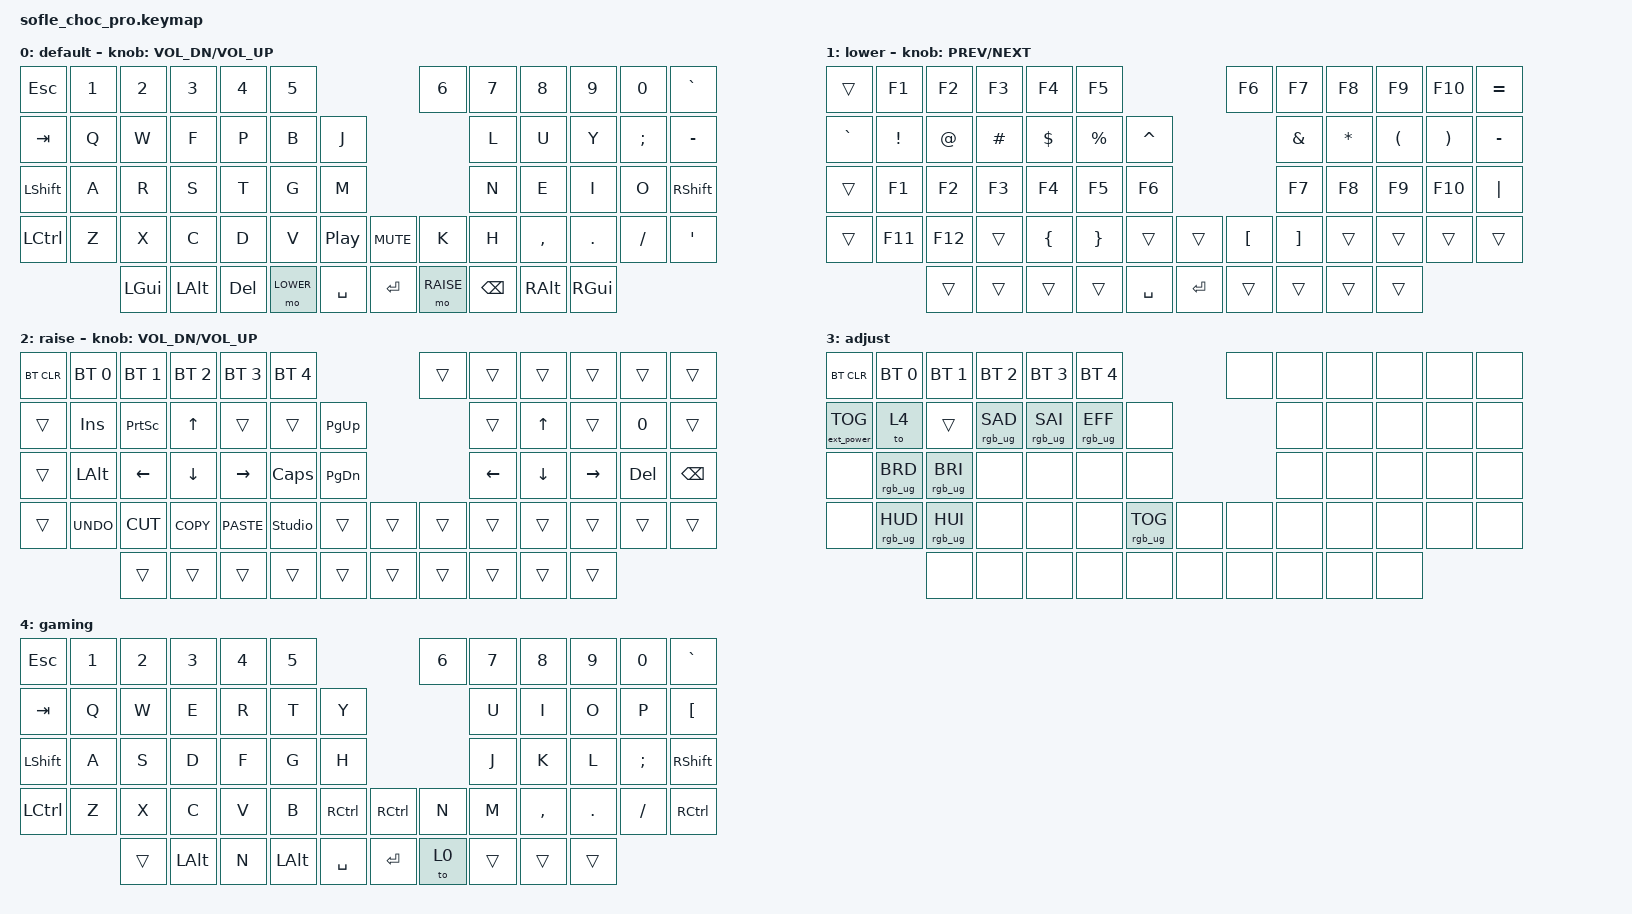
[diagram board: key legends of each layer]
/*
* Copyright (c) 2020 The ZMK Contributors
*
* SPDX-License-Identifier: MIT
*/

#include <behaviors.dtsi>
#include <dt-bindings/zmk/bt.h>
#include <dt-bindings/zmk/ext_power.h>
#include <dt-bindings/zmk/keys.h>
#include <dt-bindings/zmk/rgb.h>

#define BASE 0
#define LOWER 1
#define RAISE 2
#define ADJUST 3

/ {
    // Activate ADJUST layer by pressing raise and lower

    conditional_layers {
        compatible = "zmk,conditional-layers";

        adjust_layer {
            if-layers = <LOWER RAISE>;
            then-layer = <ADJUST>;
        };
    };

    keymap {
        compatible = "zmk,keymap";

        default_layer {
            display-name = "default";

            // ------------------------------------------------------------------------------------------------------------
            // |   `   |  1  |  2  |  3   |  4   |  5   |                   |  6   |  7    |  8    |  9   |   0   |   `   |
            // |  ESC  |  Q  |  W  |  E   |  R   |  T   |                   |  Y   |  U    |  I    |  O   |   P   | BKSPC |
            // |  TAB  |  A  |  S  |  D   |  F   |  G   |                   |  H   |  J    |  K    |  L   |   ;   |   '   |
            // | SHIFT |  Z  |  X  |  C   |  V   |  B   |  MUTE  |  | PLAY  |  N   |  M    |  ,    |  .   |   /   | SHIFT |
            //               | GUI | ALT  | CTRL | LOWER|  ENTER |  | SPACE | RAISE| CTRL  | ALT   | GUI  |

            bindings = <
&kp ESCAPE      &kp N1  &kp N2    &kp N3    &kp N4      &kp N5                                   &kp N6     &kp N7         &kp N8     &kp N9    &kp N0         &kp GRAVE
&kp TAB         &kp Q   &kp W     &kp F     &kp P       &kp B      &kp J                                    &kp L          &kp U      &kp Y     &kp SEMICOLON  &kp MINUS
&kp LEFT_SHIFT  &kp A   &kp R     &kp S     &kp T       &kp G      &kp M                                    &kp N          &kp E      &kp I     &kp O          &kp RIGHT_SHIFT
&kp LCTRL       &kp Z   &kp X     &kp C     &kp D       &kp V      &kp C_PLAY_PAUSE  &kp K_MUTE  &kp K      &kp H          &kp COMMA  &kp DOT   &kp SLASH      &kp SQT
                        &kp LGUI  &kp LALT  &kp DELETE  &mo LOWER  &kp SPACE         &kp RETURN  &mo RAISE  &kp BACKSPACE  &kp RALT   &kp RGUI
            >;

            sensor-bindings = <&inc_dec_kp C_VOL_DN C_VOL_UP>;
        };

        lower_layer {
            display-name = "lower";

            // ------------------------------------------------------------------------------------------------------------
            // |       |  F1 |  F2 |  F3  |  F4  |  F5  |                   |  F6  |  F7   |  F8   |  F9  |  F10  |  F11  |
            // |   `   |  1  |  2  |  3   |  4   |  5   |                   |  6   |  7    |  8    |  9   |   0   |  F12  |
            // |       |  !  |  @  |  #   |  $   |  %   |                   |  ^   |  &    |  *    |  (   |   )   |   |   |
            // |       |  =  |  -  |  +   |  {   |  }   |        |  |       |  [   |  ]    |  ;    |  :   |   \   |       |
            //               |     |      |      |      |        |  |       |      |       |       |      |

            bindings = <
&trans     &kp F1    &kp F2   &kp F3    &kp F4      &kp F5                              &kp F6    &kp F7         &kp F8     &kp F9                &kp F10                &kp EQUAL
&kp GRAVE  &kp EXCL  &kp AT   &kp HASH  &kp DOLLAR  &kp PERCENT  &kp CARET                        &kp AMPERSAND  &kp ASTRK  &kp LEFT_PARENTHESIS  &kp RIGHT_PARENTHESIS  &kp MINUS
&trans     &kp F1    &kp F2   &kp F3    &kp F4      &kp F5       &kp F6                           &kp F7         &kp F8     &kp F9                &kp F10                &kp PIPE
&trans     &kp F11   &kp F12  &trans    &kp LBRC    &kp RBRC     &trans     &trans      &kp LBKT  &kp RBKT       &trans     &trans                &trans                 &trans
                     &trans   &trans    &trans      &trans       &kp SPACE  &kp RETURN  &trans    &trans         &trans     &trans
            >;

            sensor-bindings = <&inc_dec_kp C_PREV C_NEXT>;
        };

        raise_layer {
            display-name = "raise";

            // ------------------------------------------------------------------------------------------------------------
            // | BTCLR | BT1  | BT2  |  BT3  |  BT4  |  BT5 |                |      |      |       |      |       |       |
            // |       | INS  | PSCR | GUI   |       |      |                | PGUP |      |   ^   |      |       |       |
            // |       | ALT  | CTRL | SHIFT |       | CAPS |                | PGDN |   <- |   v   |  ->  |  DEL  | BKSPC |
            // |       | UNDO | CUT  | COPY  | PASTE |      |      |  |      |      |      |       |      |       |       |
            //                |      |       |       |      |      |  |      |      |      |       |      |

            bindings = <
&bt BT_CLR  &bt BT_SEL 0  &bt BT_SEL 1    &bt BT_SEL 2    &bt BT_SEL 3     &bt BT_SEL 4                       &trans  &trans    &trans    &trans     &trans   &trans
&trans      &kp INS       &kp PSCRN       &kp UP_ARROW    &trans           &trans          &kp PG_UP                  &trans    &kp UP    &trans     &kp N0   &trans
&trans      &kp LALT      &kp LEFT_ARROW  &kp DOWN_ARROW  &kp RIGHT_ARROW  &kp CLCK        &kp PG_DN                  &kp LEFT  &kp DOWN  &kp RIGHT  &kp DEL  &kp BSPC
&trans      &kp K_UNDO    &kp K_CUT       &kp K_COPY      &kp K_PASTE      &studio_unlock  &trans     &trans  &trans  &trans    &trans    &trans     &trans   &trans
                          &trans          &trans          &trans           &trans          &trans     &trans  &trans  &trans    &trans    &trans
            >;

            sensor-bindings = <&inc_dec_kp C_VOL_DN C_VOL_UP>;
        };

        adjust_layer {
            // ----------------------------------------------------------------------------------------------------------------------------
            // | BTCLR  |  BT1    |  BT2    |   BT3   |   BT4   |   BT5   |                  |      |      |       |      |       |       |
            // | EXTPWR | RGB_HUD | RGB_HUI | RGB_SAD | RGB_SAI | RGB_EFF |                  |      |      |       |      |       |       |
            // |        | RGB_BRD | RGB_BRI |         |         |         |                  |      |      |       |      |       |       |
            // |        |         |         |         |         |         | RGB_TOG | |      |      |      |       |      |       |       |
            //                    |         |         |         |         |         | |      |      |      |       |      |

            display-name = "adjust";
            bindings = <
&bt BT_CLR         &bt BT_SEL 0     &bt BT_SEL 1     &bt BT_SEL 2     &bt BT_SEL 3     &bt BT_SEL 4                             &none  &none  &none  &none  &none  &none
&ext_power EP_TOG  &to 4            &trans           &rgb_ug RGB_SAD  &rgb_ug RGB_SAI  &rgb_ug RGB_EFF  &none                          &none  &none  &none  &none  &none
&none              &rgb_ug RGB_BRD  &rgb_ug RGB_BRI  &none            &none            &none            &none                          &none  &none  &none  &none  &none
&none              &rgb_ug RGB_HUD  &rgb_ug RGB_HUI  &none            &none            &none            &rgb_ug RGB_TOG  &none  &none  &none  &none  &none  &none  &none
                                    &none            &none            &none            &none            &none            &none  &none  &none  &none  &none
            >;
        };

        gaming {
            bindings = <
&kp ESC    &kp N1  &kp N2  &kp N3        &kp N4  &kp N5                              &kp N6  &kp N7  &kp N8     &kp N9   &kp N0    &kp GRAVE
&kp TAB    &kp Q   &kp W   &kp E         &kp R   &kp T         &kp Y                         &kp U   &kp I      &kp O    &kp P     &kp LBKT
&kp LSHFT  &kp A   &kp S   &kp D         &kp F   &kp G         &kp H                         &kp J   &kp K      &kp L    &kp SEMI  &kp RSHFT
&kp LCTRL  &kp Z   &kp X   &kp C         &kp V   &kp B         &kp RCTRL  &kp RCTRL  &kp N   &kp M   &kp COMMA  &kp DOT  &kp FSLH  &kp RCTRL
                   &trans  &kp LEFT_ALT  &kp N   &kp LEFT_ALT  &kp SPACE  &kp RET    &to 0   &trans  &trans     &trans
            >;

            label = "gaming";
        };
    };
};
